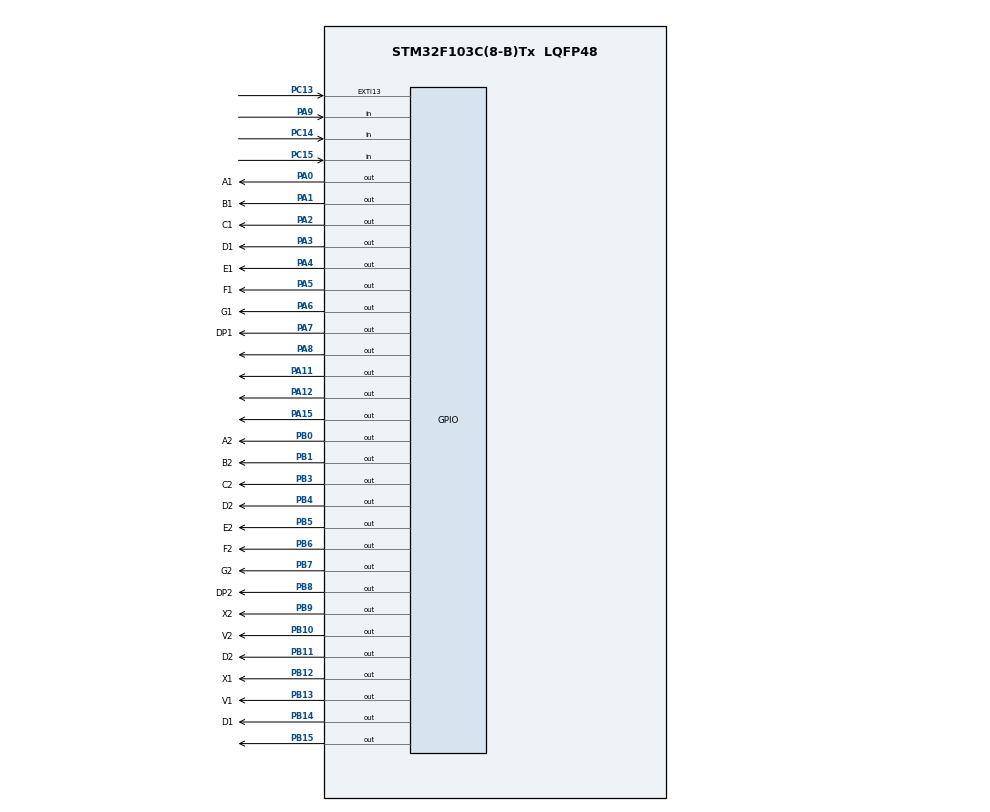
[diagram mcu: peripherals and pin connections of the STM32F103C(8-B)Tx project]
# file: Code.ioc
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Mcu.Family=STM32F1
Mcu.Name=STM32F103C(8-B)Tx
Mcu.Package=LQFP48
NVIC.EXTI15_10_IRQn=true\:1\:0\:true\:false\:true\:true\:true\:true
NVIC.PriorityGroup=NVIC_PRIORITYGROUP_4
PA0-WKUP.GPIO_Label=A1
PA0-WKUP.Signal=GPIO_Output
PA1.GPIO_Label=B1
PA1.Signal=GPIO_Output
PA11.Signal=GPIO_Output
PA12.Signal=GPIO_Output
PA13.Mode=Serial_Wire
PA13.Signal=SYS_JTMS-SWDIO
PA14.Mode=Serial_Wire
PA14.Signal=SYS_JTCK-SWCLK
PA15.Signal=GPIO_Output
PA2.GPIO_Label=C1
PA2.Signal=GPIO_Output
PA3.GPIO_Label=D1
PA3.Signal=GPIO_Output
PA4.GPIO_Label=E1
PA4.Signal=GPIO_Output
PA5.GPIO_Label=F1
PA5.Signal=GPIO_Output
PA6.GPIO_Label=G1
PA6.Signal=GPIO_Output
PA7.GPIO_Label=DP1
PA7.Signal=GPIO_Output
PA8.Signal=GPIO_Output
PA9.Signal=GPIO_Input
PB0.GPIO_Label=A2
PB0.Signal=GPIO_Output
PB1.GPIO_Label=B2
PB1.Signal=GPIO_Output
PB10.GPIO_Label=V2
PB10.Signal=GPIO_Output
PB11.GPIO_Label=D2
PB11.Signal=GPIO_Output
PB12.GPIO_Label=X1
PB12.Signal=GPIO_Output
PB13.GPIO_Label=V1
PB13.Signal=GPIO_Output
PB14.GPIO_Label=D1
PB14.Signal=GPIO_Output
PB15.Signal=GPIO_Output
PB3.GPIO_Label=C2
PB3.Signal=GPIO_Output
PB4.GPIO_Label=D2
PB4.Signal=GPIO_Output
PB5.GPIO_Label=E2
PB5.Signal=GPIO_Output
PB6.GPIO_Label=F2
PB6.Signal=GPIO_Output
PB7.GPIO_Label=G2
PB7.Signal=GPIO_Output
PB8.GPIO_Label=DP2
PB8.Signal=GPIO_Output
PB9.GPIO_Label=X2
PB9.Signal=GPIO_Output
PC13-TAMPER-RTC.Signal=GPXTI13
PC14-OSC32_IN.GPIO_PuPd=GPIO_PULLUP
PC14-OSC32_IN.Signal=GPIO_Input
PC15-OSC32_OUT.GPIO_PuPd=GPIO_PULLUP
PC15-OSC32_OUT.Signal=GPIO_Input
ProjectManager.HeapSize=0x200
ProjectManager.StackSize=0x400
ProjectManager.TargetToolchain=MDK-ARM V5.32
RCC.APB1Freq_Value=8000000
RCC.APB2Freq_Value=8000000
board=custom

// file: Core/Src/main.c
/* USER CODE BEGIN Header */
/**
  ******************************************************************************
  * @file           : main.c
  * @brief          : Main program body
  ******************************************************************************
  * @attention
  *
  * Copyright (c) 2024 STMicroelectronics.
  * All rights reserved.
  *
  * This software is licensed under terms that can be found in the LICENSE file
  * in the root directory of this software component.
  * If no LICENSE file comes with this software, it is provided AS-IS.
  *
  ******************************************************************************
  */
/* USER CODE END Header */
#include "main.h"

/* USER CODE BEGIN PV */
int i;
int xanh1=10;
int vang1=3;
int do1=10;
int chedo=0;
unsigned char maled[10]={0xc0,0xf9,0xa4,0xb0,0x99,0x92,0x82,0xf8,0x80,0x90};
/* USER CODE END PV */

void SystemClock_Config(void);
static void MX_GPIO_Init(void);

/* USER CODE BEGIN 0 */
void LCD_Data(char data1)
{
	HAL_GPIO_WritePin(GPIOA,GPIO_PIN_15,1);
	HAL_GPIO_WritePin(GPIOB,GPIO_PIN_15,1);

	HAL_GPIO_WritePin(GPIOB,GPIO_PIN_0,data1&(1<<0));
	HAL_GPIO_WritePin(GPIOB,GPIO_PIN_1,data1&(1<<1));
	HAL_GPIO_WritePin(GPIOB,GPIO_PIN_3,data1&(1<<2));
	HAL_GPIO_WritePin(GPIOB,GPIO_PIN_4,data1&(1<<3));
	HAL_GPIO_WritePin(GPIOB,GPIO_PIN_5,data1&(1<<4));
	HAL_GPIO_WritePin(GPIOB,GPIO_PIN_6,data1&(1<<5));
	HAL_GPIO_WritePin(GPIOB,GPIO_PIN_7,data1&(1<<6));
	HAL_GPIO_WritePin(GPIOB,GPIO_PIN_8,data1&(1<<7));

	HAL_GPIO_WritePin(GPIOB,GPIO_PIN_15,0);
	HAL_Delay(10);
}

void LCD_Command(char data)
{
	HAL_GPIO_WritePin(GPIOA,GPIO_PIN_15,0);
	HAL_GPIO_WritePin(GPIOB,GPIO_PIN_15,1);

	HAL_GPIO_WritePin(GPIOB,GPIO_PIN_0,data&(1<<0));
	HAL_GPIO_WritePin(GPIOB,GPIO_PIN_1,data&(1<<1));
	HAL_GPIO_WritePin(GPIOB,GPIO_PIN_3,data&(1<<2));
	HAL_GPIO_WritePin(GPIOB,GPIO_PIN_4,data&(1<<3));
	HAL_GPIO_WritePin(GPIOB,GPIO_PIN_5,data&(1<<4));
	HAL_GPIO_WritePin(GPIOB,GPIO_PIN_6,data&(1<<5));
	HAL_GPIO_WritePin(GPIOB,GPIO_PIN_7,data&(1<<6));
	HAL_GPIO_WritePin(GPIOB,GPIO_PIN_8,data&(1<<7));

	HAL_GPIO_WritePin(GPIOB,GPIO_PIN_15,0);
	HAL_Delay(10);
}

void LCD_Init()
{
	LCD_Command(0x00);
	LCD_Command(0x03);
	LCD_Command(0x02);
	LCD_Command(0x06);
	LCD_Command(0x0C);
	LCD_Command(0x80);
	LCD_Command(0x38);
	LCD_Command(0x01);
}

void LCD_ghichuoi(char *str)
{
	while(*str)
	{
		LCD_Data(*str);
		str++;
	}
}

void hienthiled7_1(int data)
{
	HAL_GPIO_WritePin(GPIOA,GPIO_PIN_0,data&(1<<0));
	HAL_GPIO_WritePin(GPIOA,GPIO_PIN_1,data&(1<<1));
	HAL_GPIO_WritePin(GPIOA,GPIO_PIN_2,data&(1<<2));
	HAL_GPIO_WritePin(GPIOA,GPIO_PIN_3,data&(1<<3));
	HAL_GPIO_WritePin(GPIOA,GPIO_PIN_4,data&(1<<4));
	HAL_GPIO_WritePin(GPIOA,GPIO_PIN_5,data&(1<<5));
	HAL_GPIO_WritePin(GPIOA,GPIO_PIN_6,data&(1<<6));
}

void hienthi1(int d2, int x1)
{
	  int i;
	  int chucd2,dvid2,chucx1,dvix1;

		chucx1=x1/10;
		dvix1=x1%10;

		chucd2=d2/10;
		dvid2=d2%10;

			for(i=0;i<25;i++)
			{
				HAL_GPIO_WritePin(GPIOA,GPIO_PIN_7,1); hienthiled7_1(maled[chucd2]); HAL_Delay(10); HAL_GPIO_WritePin(GPIOA,GPIO_PIN_7,0);
				HAL_GPIO_WritePin(GPIOA,GPIO_PIN_8,1); hienthiled7_1(maled[dvid2]); HAL_Delay(10); HAL_GPIO_WritePin(GPIOA,GPIO_PIN_8,0);
				HAL_GPIO_WritePin(GPIOA,GPIO_PIN_11,1); hienthiled7_1(maled[chucx1]); HAL_Delay(10); HAL_GPIO_WritePin(GPIOA,GPIO_PIN_11,0);
				HAL_GPIO_WritePin(GPIOA,GPIO_PIN_12,1); hienthiled7_1(maled[dvix1]); HAL_Delay(10); HAL_GPIO_WritePin(GPIOA,GPIO_PIN_12,0);
			}
}
void hienthi2(int d1, int x2)
{
	  int i;
	  int chucd1,dvid1,chucx2,dvix2;

		chucx2=x2/10;
		dvix2=x2%10;

		chucd1=d1/10;
		dvid1=d1%10;

			for(i=0;i<10;i++)
			{
				HAL_GPIO_WritePin(GPIOA,GPIO_PIN_7,1); hienthiled7_1(maled[chucd1]); HAL_Delay(10); HAL_GPIO_WritePin(GPIOA,GPIO_PIN_7,0);
				HAL_GPIO_WritePin(GPIOA,GPIO_PIN_8,1); hienthiled7_1(maled[dvid1]); HAL_Delay(10); HAL_GPIO_WritePin(GPIOA,GPIO_PIN_8,0);
				HAL_GPIO_WritePin(GPIOA,GPIO_PIN_11,1); hienthiled7_1(maled[chucx2]); HAL_Delay(10); HAL_GPIO_WritePin(GPIOA,GPIO_PIN_11,0);
				HAL_GPIO_WritePin(GPIOA,GPIO_PIN_12,1); hienthiled7_1(maled[dvix2]); HAL_Delay(10); HAL_GPIO_WritePin(GPIOA,GPIO_PIN_12,0);
			}
}
void chedobanngay()
{
	  int i;
	  int lan1=0;
		int do2,vang2,xanh2;
		do2=xanh1+vang1;
		vang2=vang1;
		xanh2=do1-vang1;
		int demdo1=do1;
		int demdo2=do2;
		int demx1=xanh1;
		int demx2=xanh2;
		LCD_Command(0x01);
	  LCD_ghichuoi("che do ban ngay");
//	  if(chedo==0)
//		{
//			if(demdo2>0&&lan1==0)
	    while(demdo2>=0)
			{
			if(HAL_GPIO_ReadPin(GPIOA,GPIO_PIN_9)==0)
			{
				break;
			}
			HAL_GPIO_WritePin(GPIOB,GPIO_PIN_9,0);
			HAL_GPIO_WritePin(GPIOB,GPIO_PIN_10,0);
			HAL_GPIO_WritePin(GPIOB,GPIO_PIN_11,1);
			if(demx1>0)
			{
				HAL_GPIO_WritePin(GPIOB,GPIO_PIN_12,1);
				HAL_GPIO_WritePin(GPIOB,GPIO_PIN_13,0);
				HAL_GPIO_WritePin(GPIOB,GPIO_PIN_14,0);
			}
			hienthi1(demdo2,demx1);
			demdo2--;
			demx1--;
			if(demx1<0)
			{
				HAL_GPIO_WritePin(GPIOB,GPIO_PIN_12,0);
				HAL_GPIO_WritePin(GPIOB,GPIO_PIN_13,1);
				HAL_GPIO_WritePin(GPIOB,GPIO_PIN_14,0);
				demx1=0;
			}
		}
			while(demdo1>=0)
	   {
			 if(HAL_GPIO_ReadPin(GPIOA,GPIO_PIN_9)==0)
			{
				break;
			}
			HAL_GPIO_WritePin(GPIOB,GPIO_PIN_12,0);
			HAL_GPIO_WritePin(GPIOB,GPIO_PIN_13,0);
			HAL_GPIO_WritePin(GPIOB,GPIO_PIN_14,1);
			if(demx2>0)
			{
				HAL_GPIO_WritePin(GPIOB,GPIO_PIN_9,1);
				HAL_GPIO_WritePin(GPIOB,GPIO_PIN_10,0);
				HAL_GPIO_WritePin(GPIOB,GPIO_PIN_11,0);
			}
			hienthi1(demdo1,demx2);
			demdo1--;
			demx2--;
			if(demx2<0)
			{
				HAL_GPIO_WritePin(GPIOB,GPIO_PIN_9,0);
				HAL_GPIO_WritePin(GPIOB,GPIO_PIN_10,1);
				HAL_GPIO_WritePin(GPIOB,GPIO_PIN_11,0);
				demx2=0;
			}
		}
//	}
}
void chedobandem()
{
//	  if(chedo==1)
//		{
			HAL_GPIO_WritePin(GPIOB,GPIO_PIN_9,0);
			HAL_GPIO_WritePin(GPIOB,GPIO_PIN_11,0);
			HAL_GPIO_WritePin(GPIOB,GPIO_PIN_12,0);
			HAL_GPIO_WritePin(GPIOB,GPIO_PIN_14,0);
			HAL_GPIO_WritePin(GPIOA,GPIO_PIN_7,0);
			HAL_GPIO_WritePin(GPIOA,GPIO_PIN_8,0);
			HAL_GPIO_WritePin(GPIOA,GPIO_PIN_11,0);
			HAL_GPIO_WritePin(GPIOA,GPIO_PIN_12,0);

			LCD_Command(0x01); //xoa man hinh
			LCD_ghichuoi("che do ban dem");

			HAL_GPIO_TogglePin(GPIOB,GPIO_PIN_10);
			HAL_GPIO_TogglePin(GPIOB,GPIO_PIN_13);
			HAL_Delay(1000);
//		}
}

/* USER CODE END 0 */

int main(void)
{
  /* USER CODE BEGIN 1 */
//	HAL_GPIO_WritePin(GPIOA,GPIO_PIN_8,1);
//	LCD_Init();
  /* USER CODE END 1 */

  /* MCU Configuration--------------------------------------------------------*/

  /* Reset of all peripherals, Initializes the Flash interface and the Systick. */
  HAL_Init();

  /* Configure the system clock */
  SystemClock_Config();

  /* Initialize all configured peripherals */
  MX_GPIO_Init();
  /* USER CODE BEGIN 2 */
	LCD_Init();
//	LCD_ghichuoi("Che do ban ngay");
  /* USER CODE END 2 */

  /* Infinite loop */
  /* USER CODE BEGIN WHILE */
  while (1)
  {
		if(HAL_GPIO_ReadPin(GPIOA,GPIO_PIN_9)==0)
		{
			while(HAL_GPIO_ReadPin(GPIOA,GPIO_PIN_9)==0);
			chedo++;
			if(chedo>1)
			{
				chedo=0;
			}
		}
    /* USER CODE END WHILE */
		if(chedo==0)
		{
			chedobanngay();
		}
		else if(chedo==1)
		{
			chedobandem();
		}
	}
}

void SystemClock_Config(void)
{
  RCC_OscInitTypeDef RCC_OscInitStruct = {0};
  RCC_ClkInitTypeDef RCC_ClkInitStruct = {0};

  /** Initializes the RCC Oscillators according to the specified parameters
  * in the RCC_OscInitTypeDef structure.
  */
  RCC_OscInitStruct.OscillatorType = RCC_OSCILLATORTYPE_HSI;
  RCC_OscInitStruct.HSIState = RCC_HSI_ON;
  RCC_OscInitStruct.HSICalibrationValue = RCC_HSICALIBRATION_DEFAULT;
  RCC_OscInitStruct.PLL.PLLState = RCC_PLL_NONE;
  if (HAL_RCC_OscConfig(&RCC_OscInitStruct) != HAL_OK)
  {
    Error_Handler();
  }

  /** Initializes the CPU, AHB and APB buses clocks
  */
  RCC_ClkInitStruct.ClockType = RCC_CLOCKTYPE_HCLK|RCC_CLOCKTYPE_SYSCLK
                              |RCC_CLOCKTYPE_PCLK1|RCC_CLOCKTYPE_PCLK2;
  RCC_ClkInitStruct.SYSCLKSource = RCC_SYSCLKSOURCE_HSI;
  RCC_ClkInitStruct.AHBCLKDivider = RCC_SYSCLK_DIV1;
  RCC_ClkInitStruct.APB1CLKDivider = RCC_HCLK_DIV1;
  RCC_ClkInitStruct.APB2CLKDivider = RCC_HCLK_DIV1;

  if (HAL_RCC_ClockConfig(&RCC_ClkInitStruct, FLASH_LATENCY_0) != HAL_OK)
  {
    Error_Handler();
  }
}

static void MX_GPIO_Init(void)
{
  GPIO_InitTypeDef GPIO_InitStruct = {0};

  /* GPIO Ports Clock Enable */
  __HAL_RCC_GPIOC_CLK_ENABLE();
  __HAL_RCC_GPIOA_CLK_ENABLE();
  __HAL_RCC_GPIOB_CLK_ENABLE();

  /*Configure GPIO pin Output Level */
  HAL_GPIO_WritePin(GPIOA, A1_Pin|B1_Pin|C1_Pin|D1_Pin
                          |E1_Pin|F1_Pin|G1_Pin|DP1_Pin
                          |GPIO_PIN_8|GPIO_PIN_11|GPIO_PIN_12|GPIO_PIN_15, GPIO_PIN_RESET);

  /*Configure GPIO pin Output Level */
  HAL_GPIO_WritePin(GPIOB, A2_Pin|B2_Pin|V2_Pin|D2_Pin
                          |X1_Pin|V1_Pin|D1B14_Pin|GPIO_PIN_15
                          |C2_Pin|D2B4_Pin|E2_Pin|F2_Pin
                          |G2_Pin|DP2_Pin|X2_Pin, GPIO_PIN_RESET);

  /*Configure GPIO pin : PC13 */
  GPIO_InitStruct.Pin = GPIO_PIN_13;
  GPIO_InitStruct.Mode = GPIO_MODE_IT_RISING;
  GPIO_InitStruct.Pull = GPIO_NOPULL;
  HAL_GPIO_Init(GPIOC, &GPIO_InitStruct);

  /*Configure GPIO pins : PC14 PC15 */
  GPIO_InitStruct.Pin = GPIO_PIN_14|GPIO_PIN_15;
  GPIO_InitStruct.Mode = GPIO_MODE_INPUT;
  GPIO_InitStruct.Pull = GPIO_PULLUP;
  HAL_GPIO_Init(GPIOC, &GPIO_InitStruct);

  /*Configure GPIO pins : A1_Pin B1_Pin C1_Pin D1_Pin
                           E1_Pin F1_Pin G1_Pin DP1_Pin
                           PA8 PA11 PA12 PA15 */
  GPIO_InitStruct.Pin = A1_Pin|B1_Pin|C1_Pin|D1_Pin
                          |E1_Pin|F1_Pin|G1_Pin|DP1_Pin
                          |GPIO_PIN_8|GPIO_PIN_11|GPIO_PIN_12|GPIO_PIN_15;
  GPIO_InitStruct.Mode = GPIO_MODE_OUTPUT_PP;
  GPIO_InitStruct.Pull = GPIO_NOPULL;
  GPIO_InitStruct.Speed = GPIO_SPEED_FREQ_LOW;
  HAL_GPIO_Init(GPIOA, &GPIO_InitStruct);

  /*Configure GPIO pins : A2_Pin B2_Pin V2_Pin D2_Pin
                           X1_Pin V1_Pin D1B14_Pin PB15
                           C2_Pin D2B4_Pin E2_Pin F2_Pin
                           G2_Pin DP2_Pin X2_Pin */
  GPIO_InitStruct.Pin = A2_Pin|B2_Pin|V2_Pin|D2_Pin
                          |X1_Pin|V1_Pin|D1B14_Pin|GPIO_PIN_15
                          |C2_Pin|D2B4_Pin|E2_Pin|F2_Pin
                          |G2_Pin|DP2_Pin|X2_Pin;
  GPIO_InitStruct.Mode = GPIO_MODE_OUTPUT_PP;
  GPIO_InitStruct.Pull = GPIO_NOPULL;
  GPIO_InitStruct.Speed = GPIO_SPEED_FREQ_LOW;
  HAL_GPIO_Init(GPIOB, &GPIO_InitStruct);

  /*Configure GPIO pin : PA9 */
  GPIO_InitStruct.Pin = GPIO_PIN_9;
  GPIO_InitStruct.Mode = GPIO_MODE_INPUT;
  GPIO_InitStruct.Pull = GPIO_NOPULL;
  HAL_GPIO_Init(GPIOA, &GPIO_InitStruct);

  /* EXTI interrupt init*/
  HAL_NVIC_SetPriority(EXTI15_10_IRQn, 1, 0);
  HAL_NVIC_EnableIRQ(EXTI15_10_IRQn);

}

void Error_Handler(void)
{
  __disable_irq();
  while (1)
  {
  }
}
